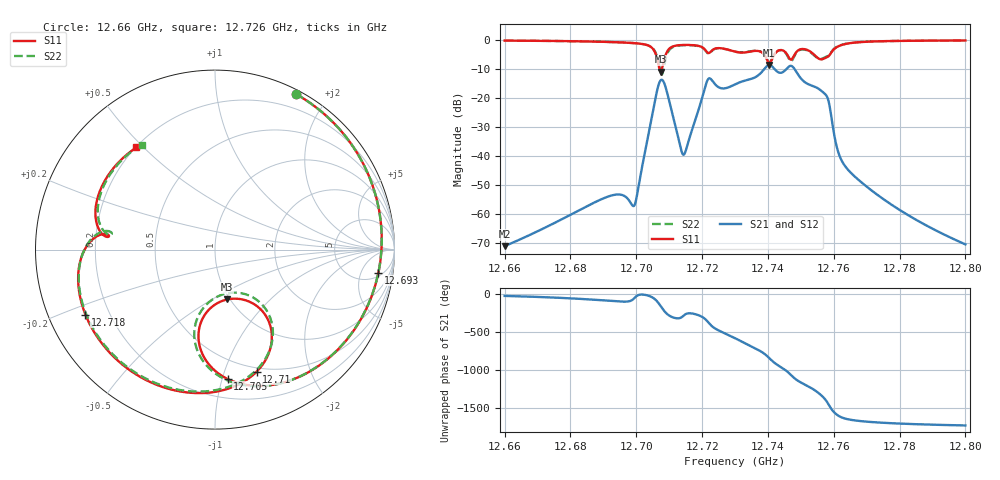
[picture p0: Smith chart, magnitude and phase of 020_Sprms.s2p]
! TOUCHSTONE file generated by CST MICROWAVE STUDIO
! Date and time: Wed Jul 31 11:37:07 2024
! Project name: WaveGuide_BPF-Ver4.1_U-shape_Ku_T3_C4_CWA_2.cst
! Parameters = {cavity_h=16; cavity_l0=10; cavity_l1=15.2102; cavity_l2=16.8191; cavity_l3=17.0803; cavity_l4=17.3017; cavity_l5=17.0952; cavity_l6=17.5706; cavity_r=2.5; cavity_screw_l=0.5; cavity_screw_r=1.5; cavity_w=8; iris_h00=0; iris_h01=8.8388; iris_h112=0; iris_h12=5.6139; iris_h211=3.6607; 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
! Header version: 2018
! Port assignment regex: !\s*Touchstone port\s*([0-9]+)\s*=\s*(CST MWS port|CST DS port)\s*([0-9]+|Zmin|Zmax)\s*\(\"(.*)\"\)(\s*mode\s*([0-9]+))?.*
! Touchstone port assignment:
! Touchstone port 1 = CST MWS port 1 ("")
! Touchstone port 2 = CST MWS port 2 ("")
# GHz S RI R 50
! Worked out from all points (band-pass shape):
!   5001 points, 12.66 GHz to 12.8 GHz, reference 50 ohm
!   highest |S21| = -8.58 dB at 12.74 GHz (marker M1); lowest = -71.0 dB at 12.66 GHz (marker M2)
!   |S21| within 3 dB of the highest: 12.73765 GHz to 12.74898 GHz (11.33 MHz wide, 0.0889 % of centre)
!   lowest |S11| = -10.9 dB at 12.707 GHz (marker M3), VSWR 1.80, Z = 48.5 - j29.4 ohm
!   |S11| at or under -10 dB: 12.70703 GHz to 12.70777 GHz (741.2 kHz wide, 0.00583 % of centre)
!   |S22| runs from -12.0 to -0.2 dB; largest |S21 - S12| = 1e-09
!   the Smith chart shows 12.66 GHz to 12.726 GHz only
!   S11 on the Smith chart (normalised r, x): 12.66 GHz: 0.04, +1.65; 12.693 GHz: 6, -11; 12.705 GHz: 0.34, -1.04; 12.71 GHz: 0.46, -1.29; 12.718 GHz: 0.11, -0.23; 12.726 GHz: 0.20, +0.48
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12.66  0.4516 0.8663  0.000241 -0.000147  0.000241 -0.000147  0.4496 0.8675
12.68335  0.8691 0.3812  0.0004 -0.00116  0.0004 -0.00116  0.8668 0.3868
12.69321  0.9106 -0.1279  -0.000374 -0.00212  -0.000374 -0.00212  0.9114 -0.1216
12.69951  0.6843 -0.5576  0.000808 -0.0012  0.000808 -0.0012  0.6861 -0.5543
12.70488  0.07 -0.7211  0.0328 -0.0402  0.0328 -0.0402  0.0717 -0.7296
12.70668  -0.069 -0.384  -0.0822 -0.1393  -0.0822 -0.1393  -0.1095 -0.4176
12.7074  0.0679 -0.2779  -0.1942 -0.0571  -0.1942 -0.0571  -0.0126 -0.277
12.71015  0.232 -0.6799  0.0314 0.0769  0.0314 0.0769  0.2648 -0.6315
12.71424  -0.3597 -0.7384  0.00443 0.00966  0.00443 0.00966  -0.3467 -0.7368
12.71802  -0.7219 -0.362  0.001 0.0434  0.001 0.0434  -0.721 -0.3514
12.72188  -0.5909 0.0777  0.204 -0.063  0.204 -0.063  -0.5751 0.0917
12.72602  -0.4375 0.5697  -0.1179 -0.0879  -0.1179 -0.0879  -0.409 0.585
12.73  0.3763 0.5065  -0.1237 0.1196  -0.1237 0.1196  0.4064 0.4848
12.73554  0.2078 -0.6104  0.2126 0.058  0.2126 0.058  0.1991 -0.6189
12.74044  -0.246 -0.3159  -0.2197 -0.3006  -0.2197 -0.3006  -0.2586 -0.3216
12.74445  -0.611 -0.2619  -0.0636 0.271  -0.0636 0.271  -0.6155 -0.2336
12.74722  -0.4488 -0.1181  0.3548 0.031  0.3548 0.031  -0.4222 -0.1046
12.75335  -0.2456 0.5524  -0.1551 -0.0534  -0.1551 -0.0534  -0.1922 0.5564
12.75668  0.4699 -0.00271  0.00189 0.1271  0.00189 0.1271  0.478 -0.0644
12.76116  -0.0802 -0.7637  -0.0113 -0.00606  -0.0113 -0.00606  -0.101 -0.7697
12.77668  -0.9457 -0.16  -0.000411 0.00152  -0.000411 0.00152  -0.9459 -0.1593
12.8  -0.9268 0.3265  8.34e-05 0.000291  8.34e-05 0.000291  -0.9262 0.328
